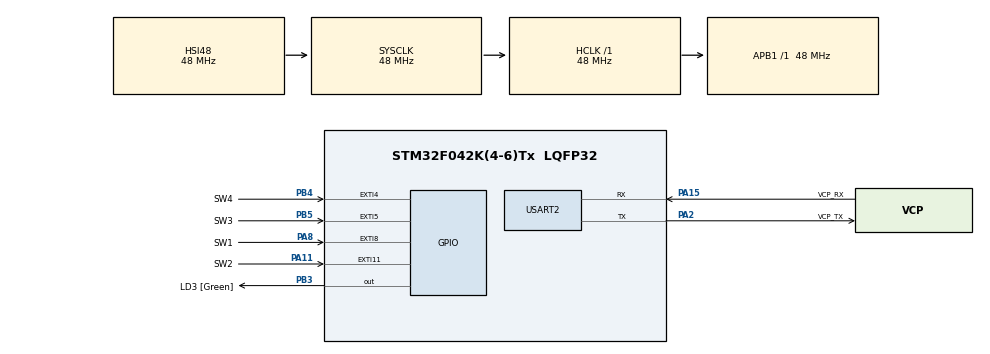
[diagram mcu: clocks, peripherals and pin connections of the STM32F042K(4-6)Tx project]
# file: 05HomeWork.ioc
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Mcu.Family=STM32F0
Mcu.Name=STM32F042K(4-6)Tx
Mcu.Package=LQFP32
NVIC.EXTI4_15_IRQn=true\:0\:0\:false\:false\:true\:true
NVIC.TIM17_IRQn=true\:0\:0\:false\:false\:true\:true
NVIC.USART2_IRQn=true\:0\:0\:false\:false\:true\:true
PA11.GPIO_Label=SW2
PA11.GPIO_ModeDefaultEXTI=GPIO_MODE_IT_RISING_FALLING
PA11.GPIO_PuPd=GPIO_PULLUP
PA11.Signal=GPXTI11
PA13.GPIO_Label=SWDIO
PA13.Mode=Serial_Wire
PA13.Signal=SYS_SWDIO
PA14.GPIO_Label=SWCLK
PA14.Mode=Serial_Wire
PA14.Signal=SYS_SWCLK
PA15.GPIO_Label=VCP_RX
PA15.Mode=Asynchronous
PA15.Signal=USART2_RX
PA2.GPIO_Label=VCP_TX
PA2.Mode=Asynchronous
PA2.Signal=USART2_TX
PA8.GPIO_Label=SW1
PA8.GPIO_ModeDefaultEXTI=GPIO_MODE_IT_RISING_FALLING
PA8.GPIO_PuPd=GPIO_PULLUP
PA8.Signal=GPXTI8
PB3.GPIO_Label=LD3 [Green]
PB3.Signal=GPIO_Output
PB4.GPIO_Label=SW4
PB4.GPIO_ModeDefaultEXTI=GPIO_MODE_IT_RISING_FALLING
PB4.GPIO_PuPd=GPIO_PULLUP
PB4.Signal=GPXTI4
PB5.GPIO_Label=SW3
PB5.GPIO_ModeDefaultEXTI=GPIO_MODE_IT_RISING_FALLING
PB5.GPIO_PuPd=GPIO_PULLUP
PB5.Signal=GPXTI5
PF0-OSC_IN.GPIO_Label=MCO
PF0-OSC_IN.Mode=HSE-External-Clock-Source
PF0-OSC_IN.Signal=RCC_OSC_IN
ProjectManager.HeapSize=0x200
ProjectManager.StackSize=0x400
ProjectManager.TargetToolchain=MDK-ARM V5
RCC.AHBFreq_Value=48000000
RCC.APB1Freq_Value=48000000
RCC.APB1TimFreq_Value=48000000
RCC.HCLKFreq_Value=48000000
RCC.SYSCLKFreq_VALUE=48000000
RCC.SYSCLKSource=RCC_SYSCLKSOURCE_HSI48
TIM17.Period=999
TIM17.Prescaler=47999
USART2.VirtualMode-Asynchronous=VM_ASYNC
VP_TIM17_VS_ClockSourceINT.Mode=Enable_Timer
board=NUCLEO-F042K6

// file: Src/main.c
/* USER CODE BEGIN Header */
/**
  ******************************************************************************
  * @file           : main.c
  * @brief          : Main program body
  ******************************************************************************
  ** This notice applies to any and all portions of this file
  * that are not between comment pairs USER CODE BEGIN and
  * USER CODE END. Other portions of this file, whether
  * inserted by the user or by software development tools
  * are owned by their respective copyright owners.
  *
  * COPYRIGHT(c) 2019 STMicroelectronics
  *
  * Redistribution and use in source and binary forms, with or without modification,
  * are permitted provided that the following conditions are met:
  *   1. Redistributions of source code must retain the above copyright notice,
  *      this list of conditions and the following disclaimer.
  *   2. Redistributions in binary form must reproduce the above copyright notice,
  *      this list of conditions and the following disclaimer in the documentation
  *      and/or other materials provided with the distribution.
  *   3. Neither the name of STMicroelectronics nor the names of its contributors
  *      may be used to endorse or promote products derived from this software
  *      without specific prior written permission.
  *
  * THIS SOFTWARE IS PROVIDED BY THE COPYRIGHT HOLDERS AND CONTRIBUTORS "AS IS"
  * AND ANY EXPRESS OR IMPLIED WARRANTIES, INCLUDING, BUT NOT LIMITED TO, THE
  * IMPLIED WARRANTIES OF MERCHANTABILITY AND FITNESS FOR A PARTICULAR PURPOSE ARE
  * DISCLAIMED. IN NO EVENT SHALL THE COPYRIGHT HOLDER OR CONTRIBUTORS BE LIABLE
  * FOR ANY DIRECT, INDIRECT, INCIDENTAL, SPECIAL, EXEMPLARY, OR CONSEQUENTIAL
  * DAMAGES (INCLUDING, BUT NOT LIMITED TO, PROCUREMENT OF SUBSTITUTE GOODS OR
  * SERVICES; LOSS OF USE, DATA, OR PROFITS; OR BUSINESS INTERRUPTION) HOWEVER
  * CAUSED AND ON ANY THEORY OF LIABILITY, WHETHER IN CONTRACT, STRICT LIABILITY,
  * OR TORT (INCLUDING NEGLIGENCE OR OTHERWISE) ARISING IN ANY WAY OUT OF THE USE
  * OF THIS SOFTWARE, EVEN IF ADVISED OF THE POSSIBILITY OF SUCH DAMAGE.
  *
  ******************************************************************************
  */
/* USER CODE END Header */

#include "main.h"

/* USER CODE BEGIN Includes */
#include "string.h"

/* USER CODE END Includes */

TIM_HandleTypeDef htim17;

UART_HandleTypeDef huart2;

void SystemClock_Config(void);
static void MX_GPIO_Init(void);
static void MX_USART2_UART_Init(void);
static void MX_TIM17_Init(void);
/* USER CODE BEGIN PFP */
void HAL_TIM_PeriodElapsedCallback(TIM_HandleTypeDef *htim);
void HAL_GPIO_EXTI_Callback(uint16_t GPIO_Pin);
void HAL_UART_RxCpltCallback(UART_HandleTypeDef *huart);
void HAL_UART_TxCpltCallback(UART_HandleTypeDef *huart);
void HAL_UART_IRQHandler(UART_HandleTypeDef *huart);
/* USER CODE END PFP */

/* USER CODE BEGIN 0 */
uint32_t countt=0;
uint8_t minn,secc;
int stages=1;
//char strS[100];
char str[100];
char strInput[1];

/* USER CODE END 0 */

int main(void)
{

  /* MCU Configuration--------------------------------------------------------*/

  /* Reset of all peripherals, Initializes the Flash interface and the Systick. */
  HAL_Init();

  /* Configure the system clock */
  SystemClock_Config();

  /* Initialize all configured peripherals */
  MX_GPIO_Init();
  MX_USART2_UART_Init();
  MX_TIM17_Init();
  /* USER CODE BEGIN 2 */

	HAL_TIM_Base_Start_IT(&htim17);

	HAL_GPIO_EXTI_IRQHandler(GPIO_PIN_8);
	HAL_GPIO_EXTI_IRQHandler(GPIO_PIN_11);
	HAL_GPIO_EXTI_IRQHandler(GPIO_PIN_5);
	HAL_GPIO_EXTI_IRQHandler(GPIO_PIN_4);
	//HAL_UART_IRQHandler(&huart2);
	HAL_UART_Receive_IT(&huart2, (uint8_t*)strInput, 1);

  /* USER CODE END 2 */

  /* Infinite loop */
  while (1)
  {

  }
}

void SystemClock_Config(void)
{
  RCC_OscInitTypeDef RCC_OscInitStruct = {0};
  RCC_ClkInitTypeDef RCC_ClkInitStruct = {0};

  /**Initializes the CPU, AHB and APB busses clocks
  */
  RCC_OscInitStruct.OscillatorType = RCC_OSCILLATORTYPE_HSI48;
  RCC_OscInitStruct.HSI48State = RCC_HSI48_ON;
  RCC_OscInitStruct.PLL.PLLState = RCC_PLL_NONE;
  if (HAL_RCC_OscConfig(&RCC_OscInitStruct) != HAL_OK)
  {
    Error_Handler();
  }
  /**Initializes the CPU, AHB and APB busses clocks
  */
  RCC_ClkInitStruct.ClockType = RCC_CLOCKTYPE_HCLK|RCC_CLOCKTYPE_SYSCLK
                              |RCC_CLOCKTYPE_PCLK1;
  RCC_ClkInitStruct.SYSCLKSource = RCC_SYSCLKSOURCE_HSI48;
  RCC_ClkInitStruct.AHBCLKDivider = RCC_SYSCLK_DIV1;
  RCC_ClkInitStruct.APB1CLKDivider = RCC_HCLK_DIV1;

  if (HAL_RCC_ClockConfig(&RCC_ClkInitStruct, FLASH_LATENCY_1) != HAL_OK)
  {
    Error_Handler();
  }
}

static void MX_TIM17_Init(void)
{

  htim17.Instance = TIM17;
  htim17.Init.Prescaler = 47999;
  htim17.Init.CounterMode = TIM_COUNTERMODE_UP;
  htim17.Init.Period = 999;
  htim17.Init.ClockDivision = TIM_CLOCKDIVISION_DIV1;
  htim17.Init.RepetitionCounter = 0;
  htim17.Init.AutoReloadPreload = TIM_AUTORELOAD_PRELOAD_DISABLE;
  if (HAL_TIM_Base_Init(&htim17) != HAL_OK)
  {
    Error_Handler();
  }

}

static void MX_USART2_UART_Init(void)
{

  huart2.Instance = USART2;
  huart2.Init.BaudRate = 38400;
  huart2.Init.WordLength = UART_WORDLENGTH_8B;
  huart2.Init.StopBits = UART_STOPBITS_1;
  huart2.Init.Parity = UART_PARITY_NONE;
  huart2.Init.Mode = UART_MODE_TX_RX;
  huart2.Init.HwFlowCtl = UART_HWCONTROL_NONE;
  huart2.Init.OverSampling = UART_OVERSAMPLING_16;
  huart2.Init.OneBitSampling = UART_ONE_BIT_SAMPLE_DISABLE;
  huart2.AdvancedInit.AdvFeatureInit = UART_ADVFEATURE_NO_INIT;
  if (HAL_UART_Init(&huart2) != HAL_OK)
  {
    Error_Handler();
  }

}

static void MX_GPIO_Init(void)
{
  GPIO_InitTypeDef GPIO_InitStruct = {0};

  /* GPIO Ports Clock Enable */
  __HAL_RCC_GPIOF_CLK_ENABLE();
  __HAL_RCC_GPIOA_CLK_ENABLE();
  __HAL_RCC_GPIOB_CLK_ENABLE();

  /*Configure GPIO pin Output Level */
  HAL_GPIO_WritePin(LD3_GPIO_Port, LD3_Pin, GPIO_PIN_RESET);

  /*Configure GPIO pins : SW1_Pin SW2_Pin */
  GPIO_InitStruct.Pin = SW1_Pin|SW2_Pin;
  GPIO_InitStruct.Mode = GPIO_MODE_IT_RISING_FALLING;
  GPIO_InitStruct.Pull = GPIO_PULLUP;
  HAL_GPIO_Init(GPIOA, &GPIO_InitStruct);

  /*Configure GPIO pin : LD3_Pin */
  GPIO_InitStruct.Pin = LD3_Pin;
  GPIO_InitStruct.Mode = GPIO_MODE_OUTPUT_PP;
  GPIO_InitStruct.Pull = GPIO_NOPULL;
  GPIO_InitStruct.Speed = GPIO_SPEED_FREQ_LOW;
  HAL_GPIO_Init(LD3_GPIO_Port, &GPIO_InitStruct);

  /*Configure GPIO pins : SW4_Pin SW3_Pin */
  GPIO_InitStruct.Pin = SW4_Pin|SW3_Pin;
  GPIO_InitStruct.Mode = GPIO_MODE_IT_RISING_FALLING;
  GPIO_InitStruct.Pull = GPIO_PULLUP;
  HAL_GPIO_Init(GPIOB, &GPIO_InitStruct);

  /* EXTI interrupt init*/
  HAL_NVIC_SetPriority(EXTI4_15_IRQn, 0, 0);
  HAL_NVIC_EnableIRQ(EXTI4_15_IRQn);

}

/* USER CODE BEGIN 4 */
void HAL_TIM_PeriodElapsedCallback(TIM_HandleTypeDef *htim)
{
	if(htim->Instance == TIM17)
	{
		if(stages == 1)
		{
			minn = countt/60;
			secc = countt%60;

			sprintf(str, "Clock -> %02d:%02d\n", minn, secc);
			countt++;

			while(__HAL_UART_GET_FLAG(&huart2, UART_FLAG_TC) == RESET){}
			HAL_UART_Transmit_IT(&huart2, (uint8_t*)str, sizeof(str));
		}

		else if(stages == 2)
		{
			minn = countt/60;
			secc = countt%60;

			sprintf(str, "Clock -> %02d:%02d\n", minn, secc);

			while(__HAL_UART_GET_FLAG(&huart2, UART_FLAG_TC) == RESET){}
			HAL_UART_Transmit_IT(&huart2, (uint8_t*)str, sizeof(str));
		}

		if(stages == 4)
		{
			if(countt >= 0)
			{
				minn = countt/60;
				secc = countt%60;

				sprintf(str, "Clock -> %02d:%02d\n", minn, secc);
				countt--;

				while(__HAL_UART_GET_FLAG(&huart2, UART_FLAG_TC) == RESET){}
				HAL_UART_Transmit_IT(&huart2, (uint8_t*)str, sizeof(str));
			}
			else if(countt < 0)
			{
				countt=60;

				minn = countt/60;
				secc = countt%60;

				sprintf(str, "Clock -> %02d:%02d\n", minn, secc);
				countt--;

				while(__HAL_UART_GET_FLAG(&huart2, UART_FLAG_TC) == RESET){}
				HAL_UART_Transmit_IT(&huart2, (uint8_t*)str, sizeof(str));
			}
		}

	}
}

void HAL_GPIO_EXTI_Callback(uint16_t GPIO_Pin)
{
	if(GPIO_Pin == GPIO_PIN_8)
	{
		char statee[100]="Clock Continue\n";
		while(__HAL_UART_GET_FLAG(&huart2, UART_FLAG_TC) == RESET){}
		HAL_UART_Transmit_IT(&huart2, (uint8_t*)statee, sizeof(statee));
		HAL_TIM_Base_Start_IT(&htim17);
		stages = 1;
	}
	else if(GPIO_Pin == GPIO_PIN_11)
	{
		char statee[100]="Clock Stop\n";
		while(__HAL_UART_GET_FLAG(&huart2, UART_FLAG_TC) == RESET){}
		HAL_UART_Transmit_IT(&huart2, (uint8_t*)statee, sizeof(statee));
		stages = 2;
	}
	else if(GPIO_Pin == GPIO_PIN_5)
	{
		char statee[100]="Clock Reset\n";
		while(__HAL_UART_GET_FLAG(&huart2, UART_FLAG_TC) == RESET){}
		HAL_UART_Transmit_IT(&huart2, (uint8_t*)statee, sizeof(statee));
		countt=0;
		stages = 1;
	}
	else if(GPIO_Pin == GPIO_PIN_4)
	{
		char statee[100]="Clock CounterclockWise\n";
		while(__HAL_UART_GET_FLAG(&huart2, UART_FLAG_TC) == RESET){}
		HAL_UART_Transmit_IT(&huart2, (uint8_t*)statee, sizeof(statee));
		countt=60;
		stages = 4;
	}
}

void HAL_UART_RxCpltCallback(UART_HandleTypeDef *huart)
{
	if(huart->Instance == USART2)
	{
		char str[1];
		char i;
		i = strcmp(strInput, "q");
		strcpy(str, strInput);
		if(i==0)
		{
			char stateee[100]="Stop Firmware\n";
			while(__HAL_UART_GET_FLAG(&huart2, UART_FLAG_TC) == RESET){}
			HAL_UART_Transmit_IT(&huart2, (uint8_t*)stateee, sizeof(stateee));
			HAL_TIM_Base_Stop_IT(&htim17);
		}
		else
		{
			__HAL_UART_CLEAR_IT(&huart2, UART_IT_RXNE);
		}
	}
}

/* USER CODE END 4 */

void Error_Handler(void)
{
}

/************************ (C) COPYRIGHT STMicroelectronics *****END OF FILE****/
